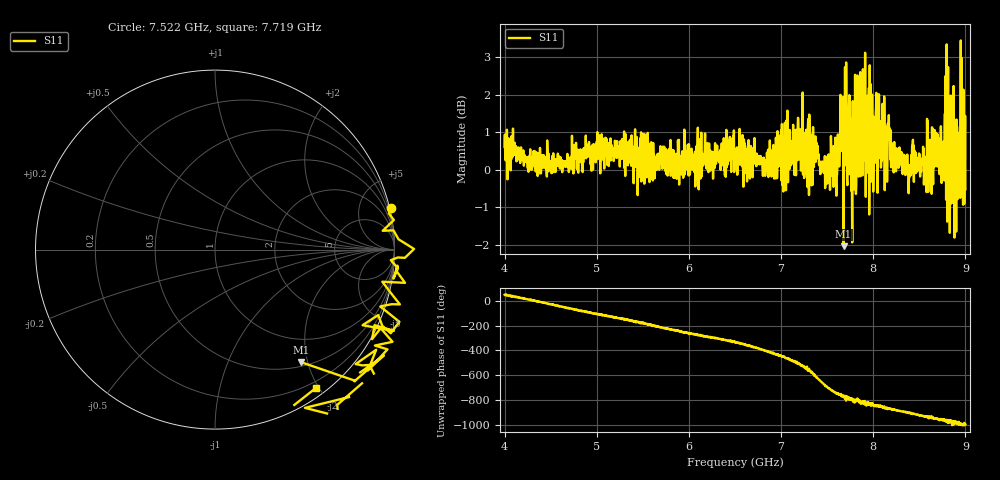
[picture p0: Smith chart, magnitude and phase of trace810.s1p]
! Created with skrf 1.8.0 (http://scikit-rf.org).
# Hz S RI R 50.0
!freq ReS11 ImS11
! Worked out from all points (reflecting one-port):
!   1601 points, 4 GHz to 9 GHz, reference 50 ohm
!   lowest |S11| = -2.0 dB at 7.678 GHz (marker M1), VSWR 8.57, Z = 28.2 - j94.7 ohm
!   phase of S11 starts at 49 deg and turns -1047 deg over the sweep
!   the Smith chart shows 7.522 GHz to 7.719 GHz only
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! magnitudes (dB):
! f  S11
! 4 GHz  0.6
! 4.625 GHz  -0.1
! 5.25 GHz  0.1
! 5.875 GHz  0.3
! 6.5 GHz  0.2
! 6.825 GHz  0.2
! 7.125 GHz  0.6
! 7.209 GHz  0.7
! 7.262 GHz  0.8
! 7.372 GHz  0.9
! 7.506 GHz  0.4
! 7.594 GHz  0.2
! 7.678 GHz  -2.0
! 7.709 GHz  1.9
! 7.75 GHz  0.3
! 7.791 GHz  0.2
! 7.803 GHz  2.5
! 7.891 GHz  0.7
! 7.981 GHz  -0.3
! 8.053 GHz  1.3
! 8.375 GHz  0.0
! 8.622 GHz  -0.2
! 8.766 GHz  0.7
! 8.788 GHz  0.4
! 8.841 GHz  2.0
! 8.875 GHz  0.9
! 8.956 GHz  0.2
! 9 GHz  -0.5
